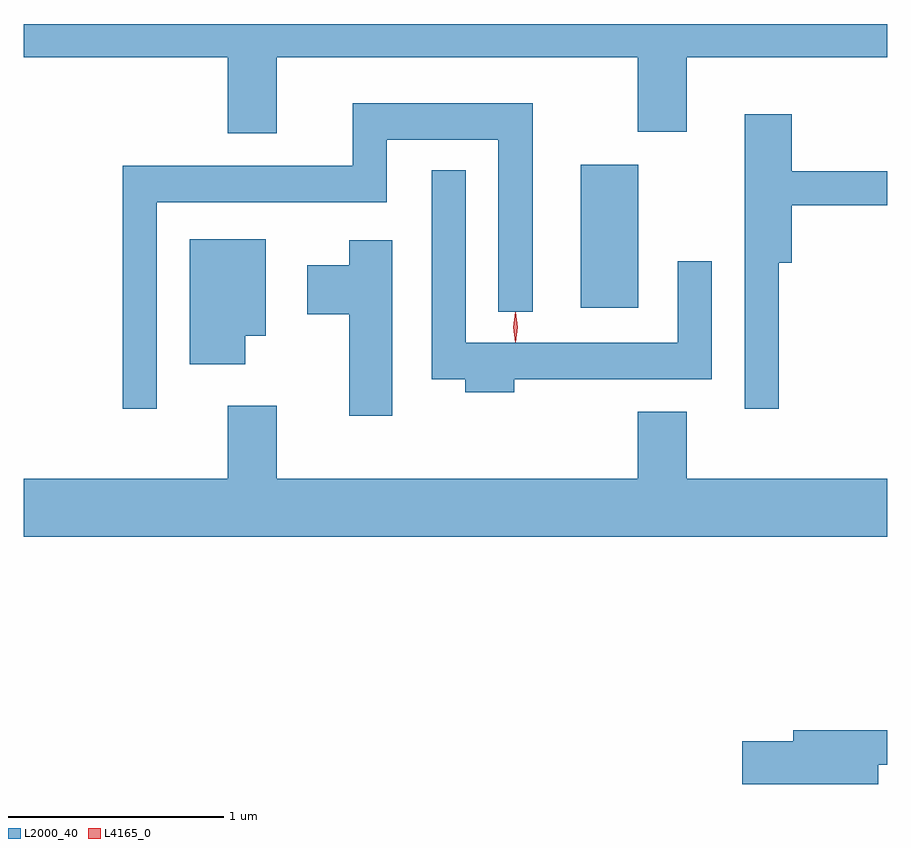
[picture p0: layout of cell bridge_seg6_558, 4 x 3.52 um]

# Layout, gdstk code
import gdstk
lib = gdstk.Library(unit=1e-6, precision=1e-09)
def R(c, l, rs):  # rectangles x0, y0, x1, y1
    for r in rs: c.add(gdstk.rectangle(r[:2], r[2:], *l))
def P(c, l, *ps):  # polygons
    for p in ps: c.add(gdstk.Polygon(p, *l))
L2000_40 = (2000, 40)
L4165_0 = (4165, 0)

bridge_seg6_558 = lib.new_cell('bridge_seg6_558')
R(bridge_seg6_558, L2000_40, [(489.056,1606.596,489.324,1607.259)])
P(bridge_seg6_558, L2000_40, [(487.649,1607.756),(489.321,1607.756),(489.321,1607.411),(489.549,1607.411),(489.549,1607.756),(490.477,1607.756),(490.477,1607.911),(486.477,1607.911),(486.477,1607.756),(487.421,1607.756),(487.421,1607.406),(487.649,1607.406)],
  [(487.094,1607.086),(488.159,1607.086),(488.159,1607.376),(488.676,1607.376),(488.676,1606.578),(488.834,1606.578),(488.834,1607.544),(488.001,1607.544),(488.001,1607.254),(486.936,1607.254),(486.936,1606.128),(487.094,1606.128)],
  [(489.974,1606.806),(490.034,1606.806),(490.034,1607.071),(490.477,1607.071),(490.477,1607.229),(490.034,1607.229),(490.034,1607.494),(489.816,1607.494),(489.816,1606.128),(489.974,1606.128)],
  [(488.749,1606.266),(489.664,1606.266),(489.664,1606.813),(489.506,1606.813),(489.506,1606.434),(488.524,1606.434),(488.524,1607.233),(488.366,1607.233),(488.366,1606.266),(488.521,1606.266),(488.521,1606.206),(488.749,1606.206)],
  [(487.504,1606.466),(487.599,1606.466),(487.599,1606.914),(487.246,1606.914),(487.246,1606.336),(487.504,1606.336)],
  [(488.184,1606.909),(487.986,1606.909),(487.986,1606.794),(487.791,1606.794),(487.791,1606.566),(487.986,1606.566),(487.986,1606.096),(488.184,1606.096)],
  [(490.477,1605.804),(489.549,1605.804),(489.549,1606.114),(489.321,1606.114),(489.321,1605.804),(487.649,1605.804),(487.649,1606.144),(487.421,1606.144),(487.421,1605.804),(486.477,1605.804),(486.477,1605.536),(490.477,1605.536)],
  [(490.434,1604.481),(490.477,1604.481),(490.477,1604.639),(490.041,1604.639),(490.041,1604.589),(489.806,1604.589),(489.806,1604.391),(490.434,1604.391)])
P(bridge_seg6_558, L4165_0, [(488.754,1606.437),(488.745,1606.507),(488.754,1606.576),(488.755,1606.576),(488.755,1606.576),(488.765,1606.507),(488.755,1606.437),(488.755,1606.437)],
  [(488.755,1606.439),(488.754,1606.44),(488.745,1606.506),(488.754,1606.572),(488.755,1606.573),(488.755,1606.572),(488.765,1606.506),(488.755,1606.44)])

lib.write_gds('bridge_seg6_558.gds')
